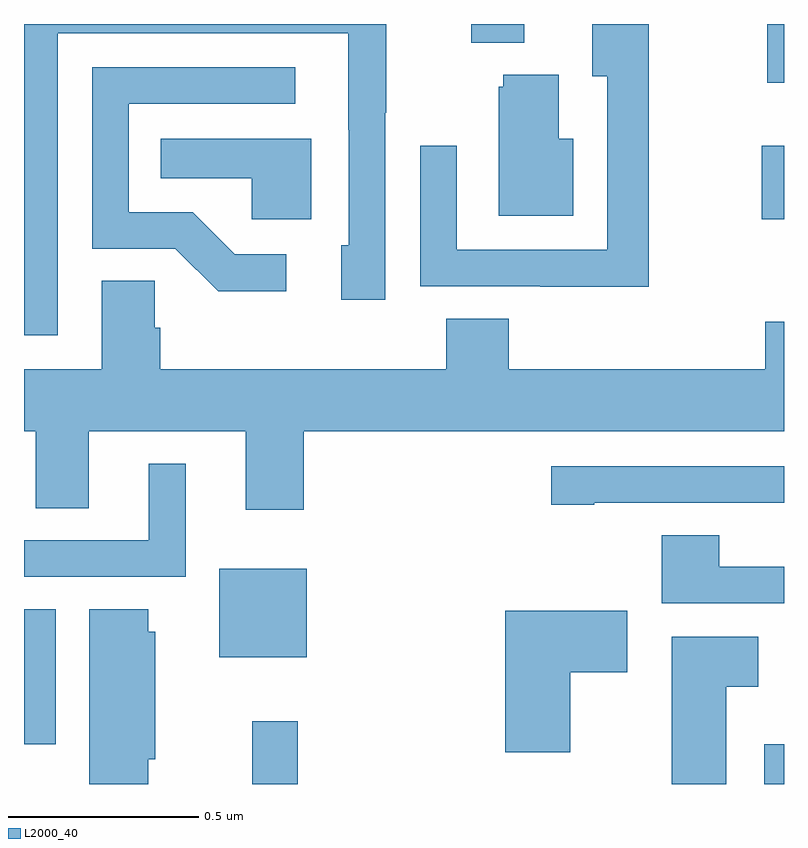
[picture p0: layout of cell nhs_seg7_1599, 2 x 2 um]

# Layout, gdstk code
import gdstk
lib = gdstk.Library(unit=1e-6, precision=1e-09)
def R(c, l, rs):  # rectangles x0, y0, x1, y1
    for r in rs: c.add(gdstk.rectangle(r[:2], r[2:], *l))
def P(c, l, *ps):  # polygons
    for p in ps: c.add(gdstk.Polygon(p, *l))
L2000_40 = (2000, 40)

nhs_seg7_1599 = lib.new_cell('nhs_seg7_1599')
R(nhs_seg7_1599, L2000_40, [(133.6,1021,133.721,1021.165), (134.948,1021,135,1021.105), (133,1021.104,133.084,1021.46), (133.514,1021.334,133.744,1021.567), (134.941,1022.486,135,1022.68), (134.956,1022.846,135,1023), (134.177,1022.951,134.317,1023)])
P(nhs_seg7_1599, L2000_40, [(134.644,1023),(134.495,1023),(134.495,1022.863),(134.535,1022.863),(134.535,1022.406),(134.139,1022.406),(134.139,1022.68),(134.043,1022.68),(134.043,1022.31),(134.359,1022.31),(134.359,1022.309),(134.644,1022.309)],
  [(133.089,1022.976),(133.853,1022.976),(133.853,1022.722),(133.854,1022.722),(133.854,1022.418),(133.835,1022.418),(133.835,1022.274),(133.95,1022.274),(133.95,1022.767),(133.953,1022.767),(133.953,1023),(133,1023),(133,1022.181),(133.089,1022.181)],
  [(133.69,1022.394),(133.555,1022.394),(133.444,1022.505),(133.275,1022.505),(133.275,1022.79),(133.714,1022.79),(133.714,1022.886),(133.179,1022.886),(133.179,1022.409),(133.398,1022.409),(133.511,1022.297),(133.69,1022.297)],
  [(134.446,1022.698),(134.407,1022.698),(134.407,1022.866),(134.261,1022.866),(134.261,1022.835),(134.249,1022.835),(134.249,1022.495),(134.446,1022.495)],
  [(133.756,1022.698),(133.36,1022.698),(133.36,1022.594),(133.599,1022.594),(133.599,1022.486),(133.756,1022.486)],
  [(133.736,1021.928),(135,1021.928),(135,1022.216),(134.951,1022.216),(134.951,1022.092),(134.276,1022.092),(134.276,1022.225),(134.111,1022.225),(134.111,1022.092),(133.358,1022.092),(133.358,1022.201),(133.344,1022.201),(133.344,1022.324),(133.205,1022.324),(133.205,1022.092),(133,1022.092),(133,1021.928),(133.031,1021.928),(133.031,1021.726),(133.171,1021.726),(133.171,1021.928),(133.583,1021.928),(133.583,1021.722),(133.736,1021.722)],
  [(133.426,1021.843),(133.328,1021.843),(133.328,1021.641),(133,1021.641),(133,1021.545),(133.426,1021.545)],
  [(134.5,1021.74),(135,1021.74),(135,1021.836),(134.388,1021.836),(134.388,1021.735),(134.5,1021.735)],
  [(135,1021.572),(134.83,1021.572),(134.83,1021.655),(134.678,1021.655),(134.678,1021.476),(135,1021.476)],
  [(133.327,1021.065),(133.345,1021.065),(133.345,1021.401),(133.327,1021.401),(133.327,1021.46),(133.172,1021.46),(133.172,1021),(133.327,1021)],
  [(134.437,1021.294),(134.587,1021.294),(134.587,1021.456),(134.267,1021.456),(134.267,1021.083),(134.437,1021.083)],
  [(134.848,1021.256),(134.932,1021.256),(134.932,1021.387),(134.705,1021.387),(134.705,1021),(134.848,1021)])

lib.write_gds('nhs_seg7_1599.gds')
